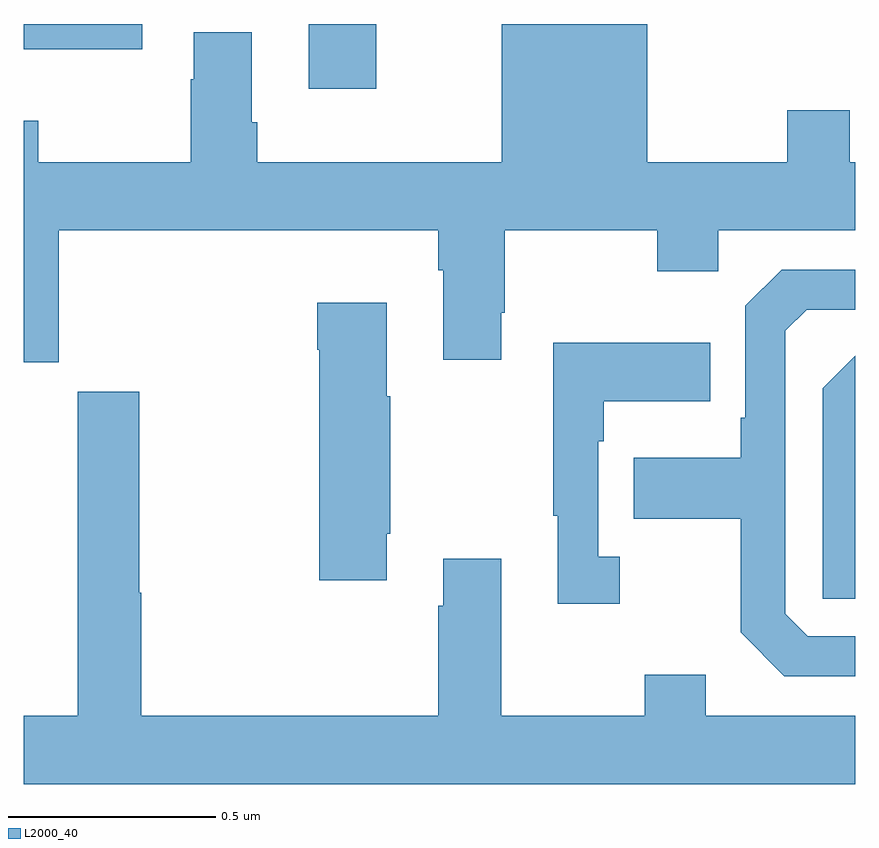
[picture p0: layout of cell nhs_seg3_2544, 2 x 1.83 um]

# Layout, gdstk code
import gdstk
lib = gdstk.Library(unit=1e-6, precision=1e-09)
def R(c, l, rs):  # rectangles x0, y0, x1, y1
    for r in rs: c.add(gdstk.rectangle(r[:2], r[2:], *l))
def P(c, l, *ps):  # polygons
    for p in ps: c.add(gdstk.Polygon(p, *l))
L2000_40 = (2000, 40)

nhs_seg3_2544 = lib.new_cell('nhs_seg3_2544')
R(nhs_seg3_2544, L2000_40, [(142.685,713.244,142.848,713.4), (142,713.339,142.285,713.4)])
P(nhs_seg3_2544, L2000_40, [(142.084,712.904),(142.997,712.904),(142.997,712.808),(143.009,712.808),(143.009,712.593),(143.149,712.593),(143.149,712.705),(143.157,712.705),(143.157,712.904),(143.524,712.904),(143.524,712.805),(143.67,712.805),(143.67,712.904),(144,712.904),(144,713.068),(143.987,713.068),(143.987,713.192),(143.836,713.192),(143.836,713.068),(143.5,713.068),(143.5,713.4),(143.15,713.4),(143.15,713.068),(142.562,713.068),(142.562,713.164),(142.549,713.164),(142.549,713.38),(142.409,713.38),(142.409,713.267),(142.402,713.267),(142.402,713.068),(142.035,713.068),(142.035,713.167),(142,713.167),(142,712.587),(142.084,712.587)],
  [(144,711.927),(143.886,711.927),(143.832,711.981),(143.832,712.662),(143.883,712.713),(144,712.713),(144,712.809),(143.823,712.809),(143.736,712.722),(143.736,712.453),(143.724,712.453),(143.724,712.357),(143.467,712.357),(143.467,712.21),(143.724,712.21),(143.724,711.937),(143.829,711.831),(144,711.831)],
  [(142.873,712.174),(142.881,712.174),(142.881,712.505),(142.873,712.505),(142.873,712.729),(142.706,712.729),(142.706,712.616),(142.711,712.616),(142.711,712.062),(142.873,712.062)],
  [(143.434,712.118),(143.382,712.118),(143.382,712.397),(143.395,712.397),(143.395,712.493),(143.651,712.493),(143.651,712.633),(143.274,712.633),(143.274,712.217),(143.285,712.217),(143.285,712.005),(143.434,712.005)],
  [(144,712.602),(143.922,712.524),(143.922,712.017),(144,712.017)],
  [(142.278,712.032),(142.278,712.515),(142.13,712.515),(142.13,711.736),(142,711.736),(142,711.572),(144,711.572),(144,711.736),(143.641,711.736),(143.641,711.835),(143.494,711.835),(143.494,711.736),(143.149,711.736),(143.149,712.114),(143.009,712.114),(143.009,712.001),(142.997,712.001),(142.997,711.736),(142.283,711.736),(142.283,712.032)])

lib.write_gds('nhs_seg3_2544.gds')
